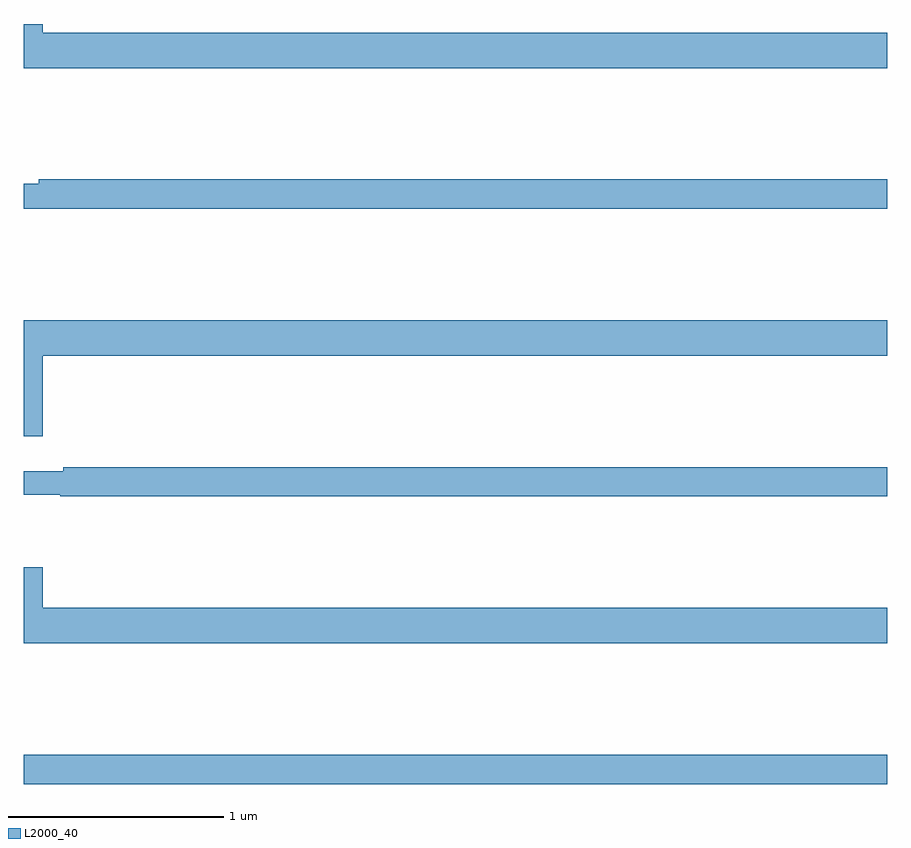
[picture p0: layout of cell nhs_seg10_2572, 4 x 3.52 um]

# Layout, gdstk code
import gdstk
lib = gdstk.Library(unit=1e-6, precision=1e-09)
def R(c, l, rs):  # rectangles x0, y0, x1, y1
    for r in rs: c.add(gdstk.rectangle(r[:2], r[2:], *l))
def P(c, l, *ps):  # polygons
    for p in ps: c.add(gdstk.Polygon(p, *l))
L2000_40 = (2000, 40)

nhs_seg10_2572 = lib.new_cell('nhs_seg10_2572')
R(nhs_seg10_2572, L2000_40, [(249,1316.98,253,1317.116)])
P(nhs_seg10_2572, L2000_40, [(253,1320.46),(249.088,1320.46),(249.088,1320.5),(249,1320.5),(249,1320.296),(253,1320.296)],
  [(253,1319.78),(249.07,1319.78),(249.07,1319.76),(249,1319.76),(249,1319.644),(253,1319.644)],
  [(249.088,1318.964),(253,1318.964),(253,1319.128),(249,1319.128),(249,1318.59),(249.088,1318.59)],
  [(253,1318.448),(249.184,1318.448),(249.184,1318.429),(249,1318.429),(249,1318.32),(249.17,1318.32),(249.17,1318.312),(253,1318.312)],
  [(253,1317.796),(249.088,1317.796),(249.088,1317.985),(249,1317.985),(249,1317.632),(253,1317.632)])

lib.write_gds('nhs_seg10_2572.gds')
